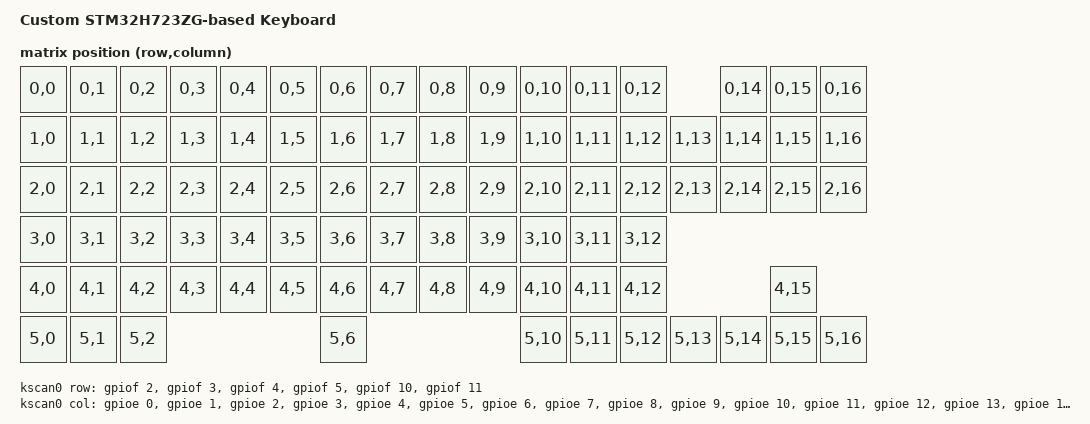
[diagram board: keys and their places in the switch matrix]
/*
 * Copyright (c) 2026 Lawrence Langat <lawrencelangatmi@gmail.com>
 * SPDX-License-Identifier: Apache-2.0
 */

/dts-v1/;
#include <st/h7/stm32h723Xg.dtsi>
#include <st/h7/stm32h723zgtx-pinctrl.dtsi>
#include <dt-bindings/zmk/matrix_transform.h>
#include <dt-bindings/led/led.h>
#include "keyboard_h723zg-layouts.dtsi"

/ {
	model = "Custom STM32H723ZG-based Keyboard";
	compatible = "generic,keyboard_h723zg";

	chosen {
		zephyr,console = &usart2;
		zephyr,shell-uart = &usart2;
		zephyr,sram = &sram0;
		zephyr,flash = &flash0;
		zephyr,dtcm = &dtcm;
		zephyr,settings-partition = &storage_partition;
		zmk,kscan = &kscan0;
		zmk,indicators = &leds;
		zmk,underglow = &rgb_bridge;
	};

	rgb_bridge: rgb_bridge {
		compatible = "zmk,is31fl3733-bridge";
		chain-length = <88>;
	};

	hid_dev_0: hid_dev_0 {
		compatible = "zephyr,hid-device";
		interface-name = "HID0";
		protocol-code = "keyboard";
		in-report-size = <64>;
		in-polling-period-us = <1000>;
	};

	kscan0: kscan_matrix {
		compatible = "zmk,kscan-gpio-matrix";
		diode-direction = "col2row";
		debounce-press-ms = <10>;
		debounce-release-ms = <10>;

		col-gpios = <&gpioe 0 GPIO_ACTIVE_HIGH>,
					<&gpioe 1 GPIO_ACTIVE_HIGH>,
					<&gpioe 2 GPIO_ACTIVE_HIGH>,
					<&gpioe 3 GPIO_ACTIVE_HIGH>,
					<&gpioe 4 GPIO_ACTIVE_HIGH>,
					<&gpioe 5 GPIO_ACTIVE_HIGH>,
					<&gpioe 6 GPIO_ACTIVE_HIGH>,
					<&gpioe 7 GPIO_ACTIVE_HIGH>,
					<&gpioe 8 GPIO_ACTIVE_HIGH>,
					<&gpioe 9 GPIO_ACTIVE_HIGH>,
					<&gpioe 10 GPIO_ACTIVE_HIGH>,
					<&gpioe 11 GPIO_ACTIVE_HIGH>,
					<&gpioe 12 GPIO_ACTIVE_HIGH>,
					<&gpioe 13 GPIO_ACTIVE_HIGH>,
					<&gpioe 14 GPIO_ACTIVE_HIGH>,
					<&gpioe 15 GPIO_ACTIVE_HIGH>,
					<&gpiof 13 GPIO_ACTIVE_HIGH>;

		row-gpios = <&gpiof 2 (GPIO_PULL_DOWN | GPIO_ACTIVE_HIGH)>,
					<&gpiof 3 (GPIO_PULL_DOWN | GPIO_ACTIVE_HIGH)>,
					<&gpiof 4 (GPIO_PULL_DOWN | GPIO_ACTIVE_HIGH)>,
					<&gpiof 5 (GPIO_PULL_DOWN | GPIO_ACTIVE_HIGH)>,
					<&gpiof 10 (GPIO_PULL_DOWN | GPIO_ACTIVE_HIGH)>,
					<&gpiof 11 (GPIO_PULL_DOWN | GPIO_ACTIVE_HIGH)>;
	};

	default_transform: keymap_transform_0 {
		compatible = "zmk,matrix-transform";
		columns = <17>;
		rows = <6>;
		map = <
			RC(0,0) RC(0,1) RC(0,2) RC(0,3) RC(0,4) RC(0,5) RC(0,6) RC(0,7) RC(0,8) RC(0,9) RC(0,10) RC(0,11) RC(0,12)          RC(0,14) RC(0,15) RC(0,16)
			RC(1,0) RC(1,1) RC(1,2) RC(1,3) RC(1,4) RC(1,5) RC(1,6) RC(1,7) RC(1,8) RC(1,9) RC(1,10) RC(1,11) RC(1,12) RC(1,13) RC(1,14) RC(1,15) RC(1,16)
			RC(2,0) RC(2,1) RC(2,2) RC(2,3) RC(2,4) RC(2,5) RC(2,6) RC(2,7) RC(2,8) RC(2,9) RC(2,10) RC(2,11) RC(2,12) RC(2,13) RC(2,14) RC(2,15) RC(2,16)
			RC(3,0) RC(3,1) RC(3,2) RC(3,3) RC(3,4) RC(3,5) RC(3,6) RC(3,7) RC(3,8) RC(3,9) RC(3,10) RC(3,11) RC(3,12)          
			RC(4,0) RC(4,1) RC(4,2) RC(4,3) RC(4,4) RC(4,5) RC(4,6) RC(4,7) RC(4,8) RC(4,9) RC(4,10) RC(4,11) RC(4,12)                   RC(4,15)
			RC(5,0) RC(5,1) RC(5,2)                         RC(5,6)                         RC(5,10) RC(5,11) RC(5,12) RC(5,13) RC(5,14) RC(5,15) RC(5,16)
		>;
	};

	leds: leds {
		compatible = "gpio-leds";
		caps_lock_led: caps_lock {
			gpios = <&gpiod 7 GPIO_ACTIVE_HIGH>;
		};
	};

	otghs_ulpi_phy: otghs_ulpis_phy {
		compatible = "usb-ulpi-phy";
		#phy-cells = <0>;
	};
};

&flash0 {
	partitions {
		compatible = "fixed-partitions";
		#address-cells = <1>;
		#size-cells = <1>;

		code_partition: partition@0 {
			label = "code";
			reg = <0x00000000 0x00100000>;
			read-only;
		};
	};
};

&spi5 {
	pinctrl-0 = <&spi5_sck_pf7 &spi5_miso_pf8 &spi5_mosi_pf9>;
	pinctrl-names = "default";
	status = "okay";
	cs-gpios = <&gpiof 6 GPIO_ACTIVE_LOW>;

	w25q128: w25q128jv@0 {
		compatible = "jedec,spi-nor";
		reg = <0>;
		spi-max-frequency = <40000000>;
		jedec-id = [ef 40 18];
		size = <DT_SIZE_M(128)>;
		has-dpd;
		t-enter-dpd = <3000>;
		t-exit-dpd  = <3000>;

		partitions {
			compatible = "fixed-partitions";
			#address-cells = <1>;
			#size-cells = <1>;

			storage_partition: partition@0 {
				label = "storage";
				reg = <0x00000000 0x00010000>;
			};

			ext_app_partition: partition@10000 {
				label = "ext-app";
				reg = <0x00010000 0x00FF0000>;
			};
		};
	};
};

&clk_lsi {
	status = "okay";
};

&clk_hse {
	clock-frequency = <DT_FREQ_M(25)>;
	status = "okay";
};

&clk_hsi48 {
	status = "okay";
};

&pll {
	div-m = <5>;
	mul-n = <110>;
	div-p = <1>;
	div-q = <5>;
	div-r = <2>;
	clocks = <&clk_hse>;
	status = "okay";
};

&rcc {
	clocks = <&pll>;
	clock-frequency = <DT_FREQ_M(550)>;
	d1cpre = <1>;
	hpre = <2>;
	d1ppre = <2>;
	d2ppre1 = <2>;
	d2ppre2 = <2>;
	d3ppre = <2>;
};

&usart2 {
	pinctrl-0 = <&usart2_tx_pa2>;
	pinctrl-names = "default";
	current-speed = <115200>;
	status = "okay";
};

&rtc {
	status = "disabled";
};

&i2c4 {
	pinctrl-0 = <&i2c4_scl_pf14 &i2c4_sda_pf15>;
	pinctrl-names = "default";
	status = "okay";
	clock-frequency = <I2C_BITRATE_FAST>;

	led_driver1: is31fl3733@50 {
		compatible = "issi,is31fl3733";
		reg = <0x50>;
		sdb-gpios = <&gpiod 11 GPIO_ACTIVE_HIGH>;
		current-limit = <0xff>;
		sync-mode = "none";
	};
};

&i2c2 {
	pinctrl-0 = <&i2c2_scl_pf1 &i2c2_sda_pf0>;
	pinctrl-names = "default";
	status = "okay";
	clock-frequency = <I2C_BITRATE_FAST>;

	led_driver2: is31fl3733@50 {
		compatible = "issi,is31fl3733";
		reg = <0x50>;
		sdb-gpios = <&gpiod 11 GPIO_ACTIVE_HIGH>;
		current-limit = <0xff>;
		sync-mode = "none";
	};
};

zephyr_udc0: &usbotg_hs {
	status = "okay";
	pinctrl-0 = <&usb_otg_hs_ulpi_ck_pa5
			 &usb_otg_hs_ulpi_d0_pa3
			 &usb_otg_hs_ulpi_d1_pb0
			 &usb_otg_hs_ulpi_d2_pb1
			 &usb_otg_hs_ulpi_d3_pb10
			 &usb_otg_hs_ulpi_d4_pb11
			 &usb_otg_hs_ulpi_d5_pb12
			 &usb_otg_hs_ulpi_d6_pb13
			 &usb_otg_hs_ulpi_d7_pb5
			 &usb_otg_hs_ulpi_stp_pc0
			 &usb_otg_hs_ulpi_dir_pc2_c
			 &usb_otg_hs_ulpi_nxt_pc3_c>;
	pinctrl-names = "default";
	maximum-speed = "high-speed";
	clocks = <&rcc STM32_CLOCK_BUS_AHB1 0x6000000>,
		 <&rcc STM32_SRC_HSI48 USB_SEL(3)>;
	phys = <&otghs_ulpi_phy>;
	status = "okay";
};
